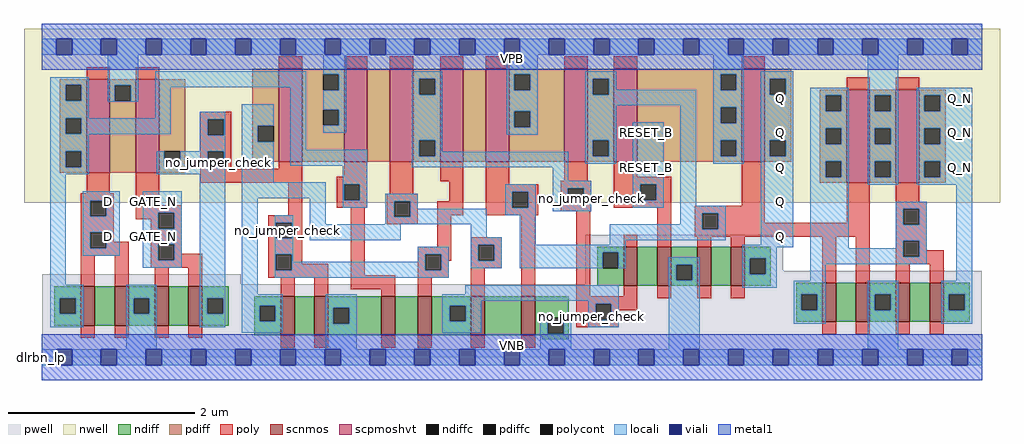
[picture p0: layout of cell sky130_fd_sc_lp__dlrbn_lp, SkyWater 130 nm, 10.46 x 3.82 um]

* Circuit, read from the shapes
.subckt sky130_fd_sc_lp__dlrbn_lp D GATE_N RESET_B VGND VNB VPB VPWR Q Q_N
XM1 n1 D n2 VNB sky130_fd_pr__nfet_01v8 w=0.42 l=0.15
XM2 VGND D n1 VNB sky130_fd_pr__nfet_01v8 w=0.42 l=0.15
XM3 n3 GATE_N VGND VNB sky130_fd_pr__nfet_01v8 w=0.42 l=0.15
XM4 n4 GATE_N n3 VNB sky130_fd_pr__nfet_01v8 w=0.42 l=0.15
XM5 n5 n4 n6 VNB sky130_fd_pr__nfet_01v8 w=0.42 l=0.15
XM6 VGND n4 n5 VNB sky130_fd_pr__nfet_01v8 w=0.42 l=0.15
XM7 n7 n2 VGND VNB sky130_fd_pr__nfet_01v8 w=0.42 l=0.15
XM8 n8 n4 n7 VNB sky130_fd_pr__nfet_01v8 w=0.42 l=0.15
XM9 n9 n6 n8 VNB sky130_fd_pr__nfet_01v8 w=0.42 l=0.15
XM10 VGND n10 n9 VNB sky130_fd_pr__nfet_01v8 w=0.42 l=0.15
XM11 n11 n8 n10 VNB sky130_fd_pr__nfet_01v8 w=0.42 l=0.15
XM12 VGND RESET_B n11 VNB sky130_fd_pr__nfet_01v8 w=0.42 l=0.15
XM13 n12 n10 VGND VNB sky130_fd_pr__nfet_01v8 w=0.42 l=0.15
XM14 Q n10 n12 VNB sky130_fd_pr__nfet_01v8 w=0.42 l=0.15
XM15 n13 n10 n14 VNB sky130_fd_pr__nfet_01v8 w=0.42 l=0.15
XM16 VGND n10 n13 VNB sky130_fd_pr__nfet_01v8 w=0.42 l=0.15
XM17 n15 n14 VGND VNB sky130_fd_pr__nfet_01v8 w=0.42 l=0.15
XM18 Q_N n14 n15 VNB sky130_fd_pr__nfet_01v8 w=0.42 l=0.15
XM19 VPWR D n2 VPB sky130_fd_pr__pfet_01v8_hvt w=1 l=0.25
XM20 n4 GATE_N VPWR VPB sky130_fd_pr__pfet_01v8_hvt w=1 l=0.25
XM21 VPWR n4 n6 VPB sky130_fd_pr__pfet_01v8_hvt w=1 l=0.25
XM22 n16 n2 VPWR VPB sky130_fd_pr__pfet_01v8_hvt w=1 l=0.25
XM23 n8 n6 n16 VPB sky130_fd_pr__pfet_01v8_hvt w=1 l=0.25
XM24 n17 n4 n8 VPB sky130_fd_pr__pfet_01v8_hvt w=1 l=0.25
XM25 VPWR n10 n17 VPB sky130_fd_pr__pfet_01v8_hvt w=1 l=0.25
XM26 n10 n8 VPWR VPB sky130_fd_pr__pfet_01v8_hvt w=1 l=0.25
XM27 VPWR RESET_B n10 VPB sky130_fd_pr__pfet_01v8_hvt w=1 l=0.25
XM28 Q n10 VPWR VPB sky130_fd_pr__pfet_01v8_hvt w=1 l=0.25
XM29 VPWR n10 n14 VPB sky130_fd_pr__pfet_01v8_hvt w=1 l=0.25
XM30 Q_N n14 VPWR VPB sky130_fd_pr__pfet_01v8_hvt w=1 l=0.25
.ends

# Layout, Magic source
magic
tech sky130A
magscale 1 2
<< nwell >>
rect -38 331 2054 704
<< pwell >>
rect 1165 186 1589 263
rect 1 157 427 178
rect 1165 157 2015 186
rect 1 49 2015 157
rect 0 0 2016 49
<< scnmos >>
rect 84 68 114 152
rect 156 68 186 152
rect 242 68 272 152
rect 314 68 344 152
rect 1247 153 1277 237
rect 1319 153 1349 237
rect 1405 153 1435 237
rect 1477 153 1507 237
rect 512 47 542 131
rect 584 47 614 131
rect 728 47 758 131
rect 806 47 836 131
rect 920 47 950 131
rect 1028 47 1058 131
rect 1673 76 1703 160
rect 1745 76 1775 160
rect 1831 76 1861 160
rect 1903 76 1933 160
<< scpmoshvt >>
rect 96 396 146 596
rect 202 396 252 596
rect 508 419 558 619
rect 648 419 698 619
rect 746 419 796 619
rect 854 419 904 619
rect 952 419 1002 619
rect 1120 419 1170 619
rect 1226 419 1276 619
rect 1500 419 1550 619
rect 1725 374 1775 574
rect 1831 374 1881 574
<< ndiff >>
rect 27 127 84 152
rect 27 93 39 127
rect 73 93 84 127
rect 27 68 84 93
rect 114 68 156 152
rect 186 127 242 152
rect 186 93 197 127
rect 231 93 242 127
rect 186 68 242 93
rect 272 68 314 152
rect 344 127 401 152
rect 1191 225 1247 237
rect 1191 191 1202 225
rect 1236 191 1247 225
rect 1191 153 1247 191
rect 1277 153 1319 237
rect 1349 199 1405 237
rect 1349 165 1360 199
rect 1394 165 1405 199
rect 1349 153 1405 165
rect 1435 153 1477 237
rect 1507 212 1563 237
rect 1507 178 1518 212
rect 1552 178 1563 212
rect 1507 153 1563 178
rect 344 93 355 127
rect 389 93 401 127
rect 344 68 401 93
rect 455 111 512 131
rect 455 77 467 111
rect 501 77 512 111
rect 455 47 512 77
rect 542 47 584 131
rect 614 106 728 131
rect 614 72 625 106
rect 659 72 728 106
rect 614 47 728 72
rect 758 47 806 131
rect 836 111 920 131
rect 836 77 875 111
rect 909 77 920 111
rect 836 47 920 77
rect 950 47 1028 131
rect 1058 85 1130 131
rect 1058 51 1085 85
rect 1119 51 1130 85
rect 1617 135 1673 160
rect 1617 101 1628 135
rect 1662 101 1673 135
rect 1617 76 1673 101
rect 1703 76 1745 160
rect 1775 135 1831 160
rect 1775 101 1786 135
rect 1820 101 1831 135
rect 1775 76 1831 101
rect 1861 76 1903 160
rect 1933 135 1989 160
rect 1933 101 1944 135
rect 1978 101 1989 135
rect 1933 76 1989 101
rect 1058 47 1130 51
rect 1073 39 1130 47
<< pdiff >>
rect 39 584 96 596
rect 39 550 51 584
rect 85 550 96 584
rect 39 513 96 550
rect 39 479 51 513
rect 85 479 96 513
rect 39 442 96 479
rect 39 408 51 442
rect 85 408 96 442
rect 39 396 96 408
rect 146 583 202 596
rect 146 549 157 583
rect 191 549 202 583
rect 146 396 202 549
rect 252 442 308 596
rect 252 408 263 442
rect 297 408 308 442
rect 252 396 308 408
rect 451 496 508 619
rect 451 462 463 496
rect 497 462 508 496
rect 451 419 508 462
rect 558 607 648 619
rect 558 573 603 607
rect 637 573 648 607
rect 558 531 648 573
rect 558 497 603 531
rect 637 497 648 531
rect 558 419 648 497
rect 698 419 746 619
rect 796 597 854 619
rect 796 563 809 597
rect 843 563 854 597
rect 796 465 854 563
rect 796 431 809 465
rect 843 431 854 465
rect 796 419 854 431
rect 904 419 952 619
rect 1002 607 1120 619
rect 1002 573 1013 607
rect 1047 573 1120 607
rect 1002 527 1120 573
rect 1002 493 1013 527
rect 1047 493 1120 527
rect 1002 419 1120 493
rect 1170 597 1226 619
rect 1170 563 1181 597
rect 1215 563 1226 597
rect 1170 465 1226 563
rect 1170 431 1181 465
rect 1215 431 1226 465
rect 1170 419 1226 431
rect 1276 607 1500 619
rect 1276 573 1455 607
rect 1489 573 1500 607
rect 1276 536 1500 573
rect 1276 502 1455 536
rect 1489 502 1500 536
rect 1276 465 1500 502
rect 1276 431 1455 465
rect 1489 431 1500 465
rect 1276 419 1500 431
rect 1550 597 1607 619
rect 1550 563 1561 597
rect 1595 563 1607 597
rect 1550 465 1607 563
rect 1550 431 1561 465
rect 1595 431 1607 465
rect 1550 419 1607 431
rect 1668 562 1725 574
rect 1668 528 1680 562
rect 1714 528 1725 562
rect 1668 491 1725 528
rect 1668 457 1680 491
rect 1714 457 1725 491
rect 1668 420 1725 457
rect 1668 386 1680 420
rect 1714 386 1725 420
rect 1668 374 1725 386
rect 1775 562 1831 574
rect 1775 528 1786 562
rect 1820 528 1831 562
rect 1775 491 1831 528
rect 1775 457 1786 491
rect 1820 457 1831 491
rect 1775 420 1831 457
rect 1775 386 1786 420
rect 1820 386 1831 420
rect 1775 374 1831 386
rect 1881 562 1938 574
rect 1881 528 1892 562
rect 1926 528 1938 562
rect 1881 491 1938 528
rect 1881 457 1892 491
rect 1926 457 1938 491
rect 1881 420 1938 457
rect 1881 386 1892 420
rect 1926 386 1938 420
rect 1881 374 1938 386
<< ndiffc >>
rect 39 93 73 127
rect 197 93 231 127
rect 1202 191 1236 225
rect 1360 165 1394 199
rect 1518 178 1552 212
rect 355 93 389 127
rect 467 77 501 111
rect 625 72 659 106
rect 875 77 909 111
rect 1085 51 1119 85
rect 1628 101 1662 135
rect 1786 101 1820 135
rect 1944 101 1978 135
<< pdiffc >>
rect 51 550 85 584
rect 51 479 85 513
rect 51 408 85 442
rect 157 549 191 583
rect 263 408 297 442
rect 463 462 497 496
rect 603 573 637 607
rect 603 497 637 531
rect 809 563 843 597
rect 809 431 843 465
rect 1013 573 1047 607
rect 1013 493 1047 527
rect 1181 563 1215 597
rect 1181 431 1215 465
rect 1455 573 1489 607
rect 1455 502 1489 536
rect 1455 431 1489 465
rect 1561 563 1595 597
rect 1561 431 1595 465
rect 1680 528 1714 562
rect 1680 457 1714 491
rect 1680 386 1714 420
rect 1786 528 1820 562
rect 1786 457 1820 491
rect 1786 386 1820 420
rect 1892 528 1926 562
rect 1892 457 1926 491
rect 1892 386 1926 420
<< poly >>
rect 96 596 146 622
rect 202 596 252 622
rect 508 619 558 645
rect 648 619 698 645
rect 746 619 796 645
rect 854 619 904 645
rect 952 619 1002 645
rect 1120 619 1170 645
rect 1226 619 1276 645
rect 1500 619 1550 645
rect 340 510 406 526
rect 340 476 356 510
rect 390 476 406 510
rect 340 442 406 476
rect 340 408 356 442
rect 390 408 406 442
rect 1725 574 1775 600
rect 1831 574 1881 600
rect 340 404 406 408
rect 508 404 558 419
rect 96 352 146 396
rect 84 336 154 352
rect 84 302 104 336
rect 138 302 154 336
rect 84 268 154 302
rect 202 326 252 396
rect 340 374 558 404
rect 648 387 698 419
rect 202 310 300 326
rect 202 296 250 310
rect 84 234 104 268
rect 138 248 154 268
rect 234 276 250 296
rect 284 276 300 310
rect 528 305 558 374
rect 632 371 698 387
rect 632 337 648 371
rect 682 337 698 371
rect 746 351 796 419
rect 854 377 904 419
rect 632 321 698 337
rect 740 335 806 351
rect 874 335 904 377
rect 138 234 186 248
rect 84 218 186 234
rect 84 152 114 218
rect 156 152 186 218
rect 234 242 300 276
rect 234 208 250 242
rect 284 222 300 242
rect 486 289 558 305
rect 486 255 502 289
rect 536 255 558 289
rect 284 208 344 222
rect 234 192 344 208
rect 242 152 272 192
rect 314 152 344 192
rect 486 221 558 255
rect 486 187 502 221
rect 536 201 558 221
rect 536 187 614 201
rect 486 171 614 187
rect 512 131 542 171
rect 584 131 614 171
rect 662 176 692 321
rect 740 301 756 335
rect 790 301 806 335
rect 740 285 806 301
rect 848 305 904 335
rect 952 371 1002 419
rect 1120 379 1170 419
rect 1226 387 1276 419
rect 952 355 1064 371
rect 952 321 1009 355
rect 1043 321 1064 355
rect 952 305 1064 321
rect 1112 363 1178 379
rect 1112 329 1128 363
rect 1162 329 1178 363
rect 1112 313 1178 329
rect 1226 371 1349 387
rect 1226 337 1283 371
rect 1317 337 1349 371
rect 1226 321 1349 337
rect 1500 325 1550 419
rect 848 237 878 305
rect 806 221 878 237
rect 806 187 822 221
rect 856 207 878 221
rect 920 241 986 257
rect 920 207 936 241
rect 970 207 986 241
rect 856 187 872 207
rect 662 146 758 176
rect 728 131 758 146
rect 806 171 872 187
rect 920 191 986 207
rect 806 131 836 171
rect 920 131 950 191
rect 1028 131 1058 305
rect 1146 131 1176 313
rect 1247 237 1277 263
rect 1319 237 1349 321
rect 1400 309 1550 325
rect 1400 275 1416 309
rect 1450 289 1550 309
rect 1725 289 1775 374
rect 1450 275 1775 289
rect 1400 259 1775 275
rect 1405 237 1435 259
rect 1477 237 1507 259
rect 1673 160 1703 259
rect 1745 160 1775 259
rect 1831 334 1881 374
rect 1831 318 1897 334
rect 1831 284 1847 318
rect 1881 284 1897 318
rect 1831 250 1897 284
rect 1831 216 1847 250
rect 1881 230 1897 250
rect 1881 216 1933 230
rect 1831 200 1933 216
rect 1831 160 1861 200
rect 1903 160 1933 200
rect 1247 131 1277 153
rect 84 42 114 68
rect 156 42 186 68
rect 242 42 272 68
rect 314 42 344 68
rect 1146 115 1277 131
rect 1319 127 1349 153
rect 1405 127 1435 153
rect 1477 127 1507 153
rect 1146 81 1187 115
rect 1221 101 1277 115
rect 1221 81 1237 101
rect 1146 65 1237 81
rect 1673 50 1703 76
rect 1745 50 1775 76
rect 1831 50 1861 76
rect 1903 50 1933 76
rect 512 21 542 47
rect 584 21 614 47
rect 728 21 758 47
rect 806 21 836 47
rect 920 21 950 47
rect 1028 21 1058 47
<< polycont >>
rect 356 476 390 510
rect 356 408 390 442
rect 104 302 138 336
rect 104 234 138 268
rect 250 276 284 310
rect 648 337 682 371
rect 250 208 284 242
rect 502 255 536 289
rect 502 187 536 221
rect 756 301 790 335
rect 1009 321 1043 355
rect 1128 329 1162 363
rect 1283 337 1317 371
rect 822 187 856 221
rect 936 207 970 241
rect 1416 275 1450 309
rect 1847 284 1881 318
rect 1847 216 1881 250
rect 1187 81 1221 115
<< locali >>
rect 0 649 31 683
rect 65 649 127 683
rect 161 649 223 683
rect 257 649 319 683
rect 353 649 415 683
rect 449 649 511 683
rect 545 649 607 683
rect 641 649 703 683
rect 737 649 799 683
rect 833 649 895 683
rect 929 649 991 683
rect 1025 649 1087 683
rect 1121 649 1183 683
rect 1217 649 1279 683
rect 1313 649 1375 683
rect 1409 649 1471 683
rect 1505 649 1567 683
rect 1601 649 1663 683
rect 1697 649 1759 683
rect 1793 649 1855 683
rect 1889 649 1951 683
rect 1985 649 2016 683
rect 18 584 101 600
rect 18 550 51 584
rect 85 550 101 584
rect 18 513 101 550
rect 141 583 207 649
rect 141 549 157 583
rect 191 549 207 583
rect 141 548 207 549
rect 243 579 567 613
rect 18 479 51 513
rect 85 512 101 513
rect 243 512 277 579
rect 85 479 277 512
rect 18 478 277 479
rect 339 510 393 526
rect 18 442 101 478
rect 339 476 356 510
rect 390 476 393 510
rect 339 442 393 476
rect 18 408 51 442
rect 85 408 101 442
rect 18 392 101 408
rect 247 408 263 442
rect 297 408 356 442
rect 390 408 393 442
rect 247 392 393 408
rect 18 156 52 392
rect 88 336 167 356
rect 88 302 104 336
rect 138 302 167 336
rect 88 268 167 302
rect 88 234 104 268
rect 138 234 167 268
rect 88 218 167 234
rect 217 310 300 356
rect 217 276 250 310
rect 284 276 300 310
rect 217 242 300 276
rect 217 208 250 242
rect 284 208 300 242
rect 217 192 300 208
rect 18 127 89 156
rect 18 93 39 127
rect 73 93 89 127
rect 18 64 89 93
rect 181 127 247 156
rect 181 93 197 127
rect 231 93 247 127
rect 181 17 247 93
rect 339 127 393 392
rect 339 93 355 127
rect 389 93 393 127
rect 339 64 393 93
rect 429 496 497 543
rect 429 462 463 496
rect 429 375 497 462
rect 533 445 567 579
rect 603 607 653 649
rect 637 573 653 607
rect 603 531 653 573
rect 637 497 653 531
rect 603 481 653 497
rect 793 597 859 613
rect 793 563 809 597
rect 843 563 859 597
rect 793 465 859 563
rect 997 607 1063 649
rect 997 573 1013 607
rect 1047 573 1063 607
rect 997 527 1063 573
rect 997 493 1013 527
rect 1047 493 1063 527
rect 997 477 1063 493
rect 1165 597 1231 613
rect 1165 563 1181 597
rect 1215 574 1231 597
rect 1439 607 1505 649
rect 1215 563 1403 574
rect 1165 540 1403 563
rect 533 411 698 445
rect 429 341 609 375
rect 429 135 463 341
rect 499 289 539 305
rect 499 255 502 289
rect 536 255 539 289
rect 499 221 539 255
rect 575 285 609 341
rect 645 371 698 411
rect 793 431 809 465
rect 843 441 859 465
rect 1165 465 1231 540
rect 843 431 1129 441
rect 793 407 1129 431
rect 1165 431 1181 465
rect 1215 431 1231 465
rect 1165 415 1231 431
rect 1095 379 1129 407
rect 645 337 648 371
rect 682 337 698 371
rect 993 355 1059 371
rect 645 321 698 337
rect 736 335 806 351
rect 736 301 756 335
rect 790 319 806 335
rect 993 321 1009 355
rect 1043 321 1059 355
rect 790 301 954 319
rect 993 305 1059 321
rect 1095 363 1178 379
rect 1095 329 1128 363
rect 1162 329 1178 363
rect 1095 313 1178 329
rect 1267 371 1333 504
rect 1267 337 1283 371
rect 1317 337 1333 371
rect 1267 321 1333 337
rect 1369 325 1403 540
rect 1439 573 1455 607
rect 1489 573 1505 607
rect 1439 536 1505 573
rect 1439 502 1455 536
rect 1489 502 1505 536
rect 1439 465 1505 502
rect 1439 431 1455 465
rect 1489 431 1505 465
rect 1439 415 1505 431
rect 1541 597 1611 613
rect 1541 563 1561 597
rect 1595 563 1611 597
rect 1541 465 1611 563
rect 1541 431 1561 465
rect 1595 431 1611 465
rect 736 285 954 301
rect 575 251 770 285
rect 920 257 954 285
rect 920 241 986 257
rect 499 187 502 221
rect 536 205 539 221
rect 806 221 872 237
rect 806 205 822 221
rect 536 187 822 205
rect 856 187 872 221
rect 920 207 936 241
rect 970 207 986 241
rect 920 191 986 207
rect 1025 241 1059 305
rect 1369 309 1466 325
rect 1369 285 1416 309
rect 1218 275 1416 285
rect 1450 275 1466 309
rect 1218 251 1466 275
rect 1218 241 1252 251
rect 1541 241 1611 431
rect 1025 225 1252 241
rect 1025 191 1202 225
rect 1236 191 1252 225
rect 1502 236 1611 241
rect 1647 562 1730 578
rect 1647 528 1680 562
rect 1714 528 1730 562
rect 1647 491 1730 528
rect 1647 457 1680 491
rect 1714 457 1730 491
rect 1647 420 1730 457
rect 1647 386 1680 420
rect 1714 386 1730 420
rect 1344 199 1410 215
rect 499 171 872 187
rect 1344 165 1360 199
rect 1394 165 1410 199
rect 908 135 1237 155
rect 429 111 517 135
rect 429 77 467 111
rect 501 77 517 111
rect 429 53 517 77
rect 609 106 675 135
rect 609 72 625 106
rect 659 72 675 106
rect 609 17 675 72
rect 859 121 1237 135
rect 859 111 942 121
rect 859 77 875 111
rect 909 77 942 111
rect 1171 115 1237 121
rect 859 53 942 77
rect 1069 51 1085 85
rect 1119 51 1135 85
rect 1171 81 1187 115
rect 1221 81 1237 115
rect 1171 65 1237 81
rect 1069 17 1135 51
rect 1344 17 1410 165
rect 1502 212 1575 236
rect 1502 178 1518 212
rect 1552 178 1575 212
rect 1502 149 1575 178
rect 1647 234 1730 386
rect 1770 562 1836 649
rect 1770 528 1786 562
rect 1820 528 1836 562
rect 1770 491 1836 528
rect 1770 457 1786 491
rect 1820 457 1836 491
rect 1770 420 1836 457
rect 1770 386 1786 420
rect 1820 386 1836 420
rect 1770 370 1836 386
rect 1876 562 1994 578
rect 1876 528 1892 562
rect 1926 528 1994 562
rect 1876 491 1994 528
rect 1876 457 1892 491
rect 1926 457 1994 491
rect 1876 420 1994 457
rect 1876 386 1892 420
rect 1926 386 1994 420
rect 1876 370 1994 386
rect 1831 318 1897 334
rect 1831 284 1847 318
rect 1881 284 1897 318
rect 1831 250 1897 284
rect 1831 234 1847 250
rect 1647 216 1847 234
rect 1881 216 1897 250
rect 1647 200 1897 216
rect 1647 164 1681 200
rect 1960 164 1994 370
rect 1612 135 1681 164
rect 1612 101 1628 135
rect 1662 101 1681 135
rect 1612 72 1681 101
rect 1770 135 1836 164
rect 1770 101 1786 135
rect 1820 101 1836 135
rect 1770 17 1836 101
rect 1928 135 1994 164
rect 1928 101 1944 135
rect 1978 101 1994 135
rect 1928 72 1994 101
rect 0 -17 31 17
rect 65 -17 127 17
rect 161 -17 223 17
rect 257 -17 319 17
rect 353 -17 415 17
rect 449 -17 511 17
rect 545 -17 607 17
rect 641 -17 703 17
rect 737 -17 799 17
rect 833 -17 895 17
rect 929 -17 991 17
rect 1025 -17 1087 17
rect 1121 -17 1183 17
rect 1217 -17 1279 17
rect 1313 -17 1375 17
rect 1409 -17 1471 17
rect 1505 -17 1567 17
rect 1601 -17 1663 17
rect 1697 -17 1759 17
rect 1793 -17 1855 17
rect 1889 -17 1951 17
rect 1985 -17 2016 17
<< viali >>
rect 31 649 65 683
rect 127 649 161 683
rect 223 649 257 683
rect 319 649 353 683
rect 415 649 449 683
rect 511 649 545 683
rect 607 649 641 683
rect 703 649 737 683
rect 799 649 833 683
rect 895 649 929 683
rect 991 649 1025 683
rect 1087 649 1121 683
rect 1183 649 1217 683
rect 1279 649 1313 683
rect 1375 649 1409 683
rect 1471 649 1505 683
rect 1567 649 1601 683
rect 1663 649 1697 683
rect 1759 649 1793 683
rect 1855 649 1889 683
rect 1951 649 1985 683
rect 31 -17 65 17
rect 127 -17 161 17
rect 223 -17 257 17
rect 319 -17 353 17
rect 415 -17 449 17
rect 511 -17 545 17
rect 607 -17 641 17
rect 703 -17 737 17
rect 799 -17 833 17
rect 895 -17 929 17
rect 991 -17 1025 17
rect 1087 -17 1121 17
rect 1183 -17 1217 17
rect 1279 -17 1313 17
rect 1375 -17 1409 17
rect 1471 -17 1505 17
rect 1567 -17 1601 17
rect 1663 -17 1697 17
rect 1759 -17 1793 17
rect 1855 -17 1889 17
rect 1951 -17 1985 17
<< metal1 >>
rect 0 683 2016 715
rect 0 649 31 683
rect 65 649 127 683
rect 161 649 223 683
rect 257 649 319 683
rect 353 649 415 683
rect 449 649 511 683
rect 545 649 607 683
rect 641 649 703 683
rect 737 649 799 683
rect 833 649 895 683
rect 929 649 991 683
rect 1025 649 1087 683
rect 1121 649 1183 683
rect 1217 649 1279 683
rect 1313 649 1375 683
rect 1409 649 1471 683
rect 1505 649 1567 683
rect 1601 649 1663 683
rect 1697 649 1759 683
rect 1793 649 1855 683
rect 1889 649 1951 683
rect 1985 649 2016 683
rect 0 617 2016 649
rect 0 17 2016 49
rect 0 -17 31 17
rect 65 -17 127 17
rect 161 -17 223 17
rect 257 -17 319 17
rect 353 -17 415 17
rect 449 -17 511 17
rect 545 -17 607 17
rect 641 -17 703 17
rect 737 -17 799 17
rect 833 -17 895 17
rect 929 -17 991 17
rect 1025 -17 1087 17
rect 1121 -17 1183 17
rect 1217 -17 1279 17
rect 1313 -17 1375 17
rect 1409 -17 1471 17
rect 1505 -17 1567 17
rect 1601 -17 1663 17
rect 1697 -17 1759 17
rect 1793 -17 1855 17
rect 1889 -17 1951 17
rect 1985 -17 2016 17
rect 0 -49 2016 -17
<< labels >>
flabel pwell s 0 0 2016 49 0 FreeSans 200 0 0 0 VNB
port 5 nsew ground bidirectional
flabel nwell s 0 617 2016 666 0 FreeSans 200 0 0 0 VPB
port 6 nsew power bidirectional
rlabel comment s 0 0 0 0 4 dlrbn_lp
flabel comment s 1179 88 1179 88 0 FreeSans 300 180 0 0 no_jumper_check
flabel comment s 1179 340 1179 340 0 FreeSans 300 180 0 0 no_jumper_check
flabel comment s 526 271 526 271 0 FreeSans 200 270 0 0 no_jumper_check
flabel comment s 379 418 379 418 0 FreeSans 200 270 0 0 no_jumper_check
flabel metal1 s 0 617 2016 666 0 FreeSans 340 0 0 0 VPWR
port 7 nsew power bidirectional
flabel metal1 s 0 0 2016 49 0 FreeSans 340 0 0 0 VGND
port 4 nsew ground bidirectional
flabel locali s 127 242 161 276 0 FreeSans 340 0 0 0 D
port 1 nsew signal input
flabel locali s 127 316 161 350 0 FreeSans 340 0 0 0 D
port 1 nsew signal input
flabel locali s 1279 390 1313 424 0 FreeSans 340 0 0 0 RESET_B
port 3 nsew signal input
flabel locali s 1279 464 1313 498 0 FreeSans 340 0 0 0 RESET_B
port 3 nsew signal input
flabel locali s 223 242 257 276 0 FreeSans 340 0 0 0 GATE_N
port 2 nsew clock input
flabel locali s 223 316 257 350 0 FreeSans 340 0 0 0 GATE_N
port 2 nsew clock input
flabel locali s 1567 242 1601 276 0 FreeSans 340 0 0 0 Q
port 8 nsew signal output
flabel locali s 1567 316 1601 350 0 FreeSans 340 0 0 0 Q
port 8 nsew signal output
flabel locali s 1567 390 1601 424 0 FreeSans 340 0 0 0 Q
port 8 nsew signal output
flabel locali s 1567 464 1601 498 0 FreeSans 340 0 0 0 Q
port 8 nsew signal output
flabel locali s 1567 538 1601 572 0 FreeSans 340 0 0 0 Q
port 8 nsew signal output
flabel locali s 1951 390 1985 424 0 FreeSans 340 0 0 0 Q_N
port 9 nsew signal output
flabel locali s 1951 464 1985 498 0 FreeSans 340 0 0 0 Q_N
port 9 nsew signal output
flabel locali s 1951 538 1985 572 0 FreeSans 340 0 0 0 Q_N
port 9 nsew signal output
<< properties >>
string LEFsite unit
string LEFclass CORE
string FIXED_BBOX 0 0 2016 666
string GDS_FILE $PDKPATH/libs.ref/sky130_fd_sc_lp/gds/sky130_fd_sc_lp.gds
string LEFsymmetry X Y R90
string GDS_END 6249008
string GDS_START 6234180
<< end >>
